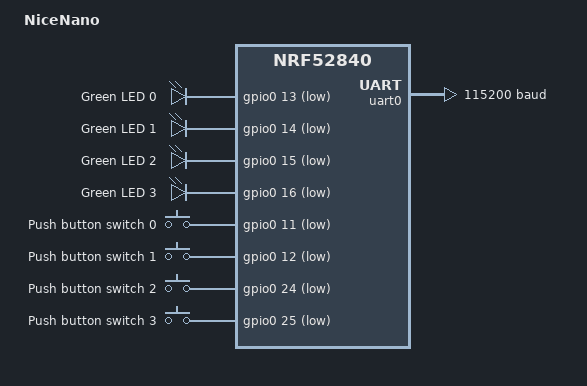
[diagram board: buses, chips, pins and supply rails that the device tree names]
// Copyright (c) 2025 Nordic Semiconductor ASA
// SPDX-License-Identifier: Apache-2.0

/dts-v1/;
#include <nordic/nrf52840_qiaa.dtsi>
#include "nicenano-pinctrl.dtsi"
/ {
	model = "NiceNano";
	compatible = "hkh,nicenano";

	chosen {
		zephyr,sram = &sram0;
		zephyr,console = &uart0;
		zephyr,flash = &flash0;
		zephyr,code-partition = &slot0_partition;
	};

	leds {
		compatible = "gpio-leds";
		led0: led_0 {
			gpios = <&gpio0 13 GPIO_ACTIVE_LOW>;
			label = "Green LED 0";
		};
		led1: led_1 {
			gpios = <&gpio0 14 GPIO_ACTIVE_LOW>;
			label = "Green LED 1";
		};
		led2: led_2 {
			gpios = <&gpio0 15 GPIO_ACTIVE_LOW>;
			label = "Green LED 2";
		};
		led3: led_3 {
			gpios = <&gpio0 16 GPIO_ACTIVE_LOW>;
			label = "Green LED 3";
		};
	};
	buttons {
		compatible = "gpio-keys";
		button0: button_0 {
			gpios = <&gpio0 11 (GPIO_PULL_UP | GPIO_ACTIVE_LOW)>;
			label = "Push button switch 0";
			zephyr,code = <INPUT_KEY_0>;
		};
		button1: button_1 {
			gpios = <&gpio0 12 (GPIO_PULL_UP | GPIO_ACTIVE_LOW)>;
			label = "Push button switch 1";
			zephyr,code = <INPUT_KEY_1>;
		};
		button2: button_2 {
			gpios = <&gpio0 24 (GPIO_PULL_UP | GPIO_ACTIVE_LOW)>;
			label = "Push button switch 2";
			zephyr,code = <INPUT_KEY_2>;
		};
		button3: button_3 {
			gpios = <&gpio0 25 (GPIO_PULL_UP | GPIO_ACTIVE_LOW)>;
			label = "Push button switch 3";
			zephyr,code = <INPUT_KEY_3>;
		};
	};

	
	/* These aliases are provided for compatibility with samples */
	aliases {
		led0 = &led0;
		led1 = &led1;
		led2 = &led2;
		led3 = &led3;
		// pwm-led0 = &pwm_led0;
		sw0 = &button0;
		sw1 = &button1;
		sw2 = &button2;
		sw3 = &button3;
		bootloader-led0 = &led0;
		mcuboot-button0 = &button0;
		mcuboot-led0 = &led0;
		watchdog0 = &wdt0;
	};
};

&flash0 {
	partitions {
		compatible = "fixed-partitions";
		#address-cells = <1>;
		#size-cells = <1>;

		boot_partition: partition@0 {
			label = "mcuboot";
			reg = <0x0 0xc000>;
		};
		slot0_partition: partition@c000 {
			label = "image-0";
			reg = <0xc000 0x72000>;
		};
		slot1_partition: partition@7e000 {
			label = "image-1";
			reg = <0x7e000 0x72000>;
		};
		scratch_partition: partition@f0000 {
			label = "image-scratch";
			reg = <0xf0000 0xa000>;
		};
		storage_partition: partition@fa000 {
			label = "storage";
			reg = <0xfa000 0x6000>;
		};
	};
};


&gpiote {
	status = "okay";
};

&gpio0 {
	status = "okay";
};

&gpio1 {
	status = "okay";
};

&uart0 {
	compatible = "nordic,nrf-uarte";
	status = "okay";
	current-speed = <115200>;
	pinctrl-0 = <&uart0_default>;
	pinctrl-1 = <&uart0_sleep>;
	pinctrl-names = "default", "sleep";
};

